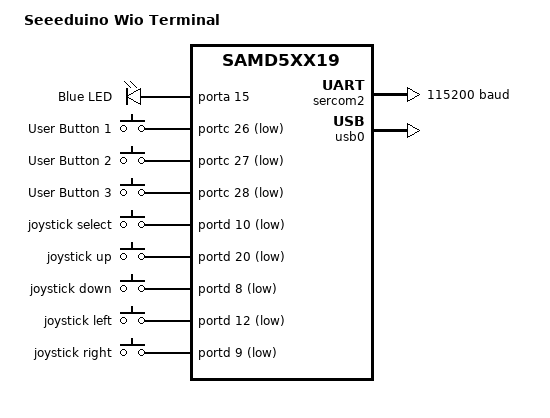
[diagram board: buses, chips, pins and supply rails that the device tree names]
/*
 * Copyright (c) 2021 Harry Jiang
 *
 * SPDX-License-Identifier: Apache-2.0
 */

/dts-v1/;
#include <atmel/samd5xx19.dtsi>

/ {
	model = "Seeeduino Wio Terminal";
	compatible = "seeedstudio,seeeduino-wio-terminal";

	chosen {
		zephyr,console = &sercom2;
		zephyr,shell-uart = &sercom2;
		zephyr,sram = &sram0;
		zephyr,flash = &flash0;
		zephyr,code-partition = &code_partition;
	};

	leds {
		compatible = "gpio-leds";
		led0: led_0 {
			gpios = <&porta 15 GPIO_ACTIVE_HIGH>;
			label = "Blue LED";
		};
	};

	gpio_keys {
		compatible = "gpio-keys";
		user_button1: button_1 {
			label = "User Button 1";
			gpios = <&portc 26 GPIO_ACTIVE_LOW>;
		};
		user_button2: button_2 {
			label = "User Button 2";
			gpios = <&portc 27 GPIO_ACTIVE_LOW>;
		};
		user_button3: button_3 {
			label = "User Button 3";
			gpios = <&portc 28 GPIO_ACTIVE_LOW>;
		};
		joy_sel: joystick_select {
			label = "joystick select";
			gpios = <&portd 10 GPIO_ACTIVE_LOW>;
		};
		joy_up: joystick_up {
			label = "joystick up";
			gpios = <&portd 20 GPIO_ACTIVE_LOW>;
		};
		joy_down: joystick_down {
			label = "joystick down";
			gpios = <&portd 8 GPIO_ACTIVE_LOW>;
		};
		joy_left: joystick_left {
			label = "joystick left";
			gpios = <&portd 12 GPIO_ACTIVE_LOW>;
		};
		joy_right: joystick_right {
			label = "joystick right";
			gpios = <&portd 9 GPIO_ACTIVE_LOW>;
		};
	};

	aliases {
		led0 = &led0;
		sw0 = &user_button1;
		sw1 = &user_button2;
		sw2 = &user_button3;
	};
};

&cpu0 {
	clock-frequency = <120000000>;
};

&sercom2 {
	status = "okay";
	compatible = "atmel,sam0-uart";
	current-speed = <115200>;
	txpo = <0>;
	rxpo = <1>;
};

&usb0 {
	status = "okay";
};

&dmac {
	status = "okay";
};

&flash0 {
	partitions {
		compatible = "fixed-partitions";
		#address-cells = <1>;
		#size-cells = <1>;

		boot_partition: partition@0 {
			label = "uf2";
			reg = <0x00000000 DT_SIZE_K(16)>;
			read-only;
		};

		code_partition: partition@4000 {
			label = "code";
			reg = <0x4000 DT_SIZE_K(512-16-16)>;
			read-only;
		};

		storage_partition: partition@7c000 {
			label = "storage";
			reg = <0x7c000 DT_SIZE_K(16)>;
		};
	};
};
